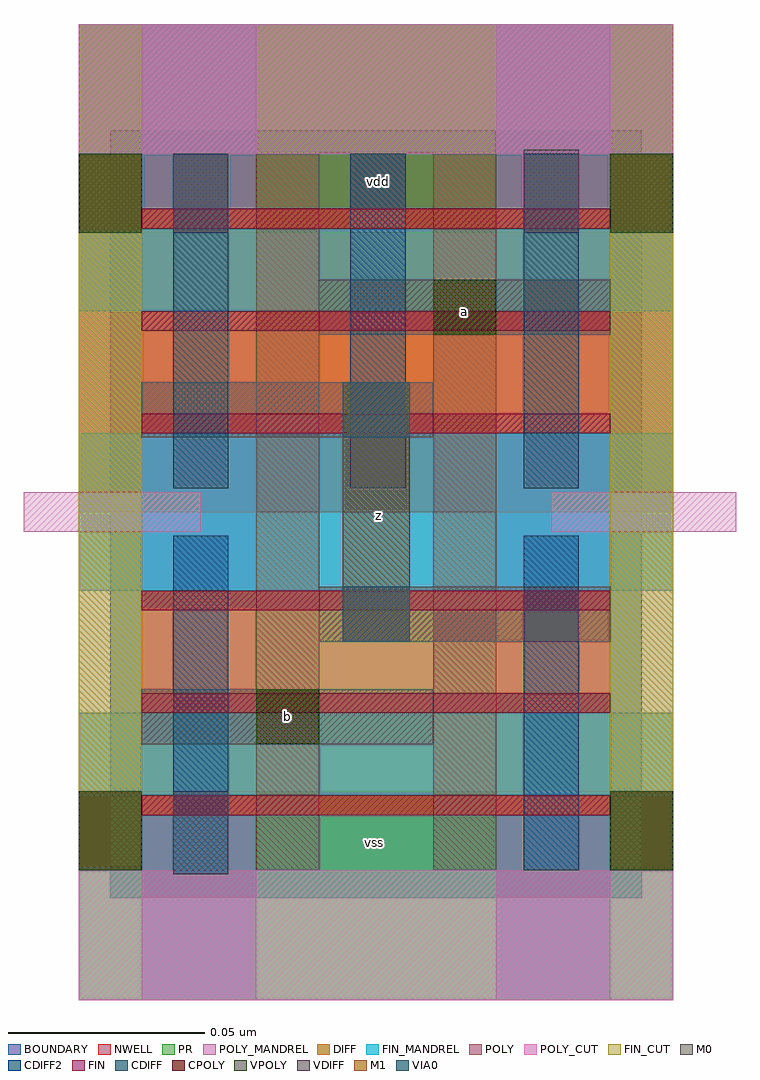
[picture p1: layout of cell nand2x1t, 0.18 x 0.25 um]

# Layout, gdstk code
import gdstk
lib = gdstk.Library(unit=1e-6, precision=1e-11)
def R(c, l, rs):  # rectangles x0, y0, x1, y1
    for r in rs: c.add(gdstk.rectangle(r[:2], r[2:], *l))
def A(c, l, x, y, w, h, nx, ny, dx, dy):  # array of equal rectangles
    R(c, l, [(x+i*dx, y+j*dy, x+i*dx+w, y+j*dy+h) for i in range(nx) for j in range(ny)])
BOUNDARY = (1, 0)
NWELL = (5, 1)
DIFF = (7, 7)
FIN = (7, 8)
FIN_MANDREL = (7, 10)
FIN_CUT = (7, 50)
POLY = (9, 7)
POLY_MANDREL = (9, 10)
POLY_CUT = (9, 50)
CPOLY = (9, 100)
VPOLY = (9, 135)
VDIFF = (10, 0)
CDIFF = (10, 1)
CDIFF2 = (10, 2)
VIA0 = (20, 0)
M0 = (30, 0)
PR = (30, 1)
M1 = (50, 0)

nand2x1t = lib.new_cell('nand2x1t')
R(nand2x1t, BOUNDARY, [(-0.008,-0.013,0.127,0.182)])
R(nand2x1t, NWELL, [(-0.016,0.085,0.135,0.209)])
R(nand2x1t, DIFF, [(0,0.008,0.119,0.065), (0,0.105,0.119,0.162)])
A(nand2x1t, FIN, 0, 0.008, 0.119, 0.005, 1, 3, 0, 0.026)
A(nand2x1t, FIN, 0, 0.105, 0.119, 0.005, 1, 3, 0, 0.026)
R(nand2x1t, FIN_MANDREL, [(-0.016,0.013,0.135,0.034), (-0.016,0.065,0.135,0.105), (-0.016,0.136,0.135,0.157)])
R(nand2x1t, FIN_CUT, [(0.119,-0.006,0.135,0.176), (-0.016,-0.005,0,0.176)])
R(nand2x1t, POLY, [(-0.016,-0.006,0,0.08), (0.029,-0.006,0.045,0.176), (0.074,-0.006,0.09,0.176), (0.119,-0.006,0.135,0.08), (-0.016,0.09,0,0.176), (0.119,0.09,0.135,0.176)])
R(nand2x1t, POLY_MANDREL, [(0,-0.039,0.029,0.209), (0.09,-0.039,0.119,0.209)])
R(nand2x1t, POLY_CUT, [(-0.016,-0.039,0.135,-0.006), (-0.03,0.08,0.015,0.09), (0.104,0.08,0.151,0.09), (-0.016,0.176,0.135,0.209)])
R(nand2x1t, CPOLY, [(-0.016,-0.006,0,0.014), (0.119,-0.006,0.135,0.014), (0.029,0.026,0.045,0.04), (0.074,0.13,0.09,0.144), (-0.016,0.156,0,0.176), (0.119,0.156,0.135,0.176)])
R(nand2x1t, VPOLY, [(-0.016,-0.006,0,0.014), (0.119,-0.006,0.135,0.014), (0.029,0.026,0.045,0.04), (0.074,0.13,0.09,0.144), (-0.016,0.156,0,0.176), (0.119,0.156,0.135,0.176)])
R(nand2x1t, VDIFF, [(0.008,-0.007,0.022,0.014), (0.097,0.052,0.111,0.066), (0.053,0.104,0.067,0.118), (0.008,0.156,0.022,0.176), (0.097,0.156,0.111,0.177)])
R(nand2x1t, CDIFF, [(0.008,0.091,0.022,0.176), (0.097,0.091,0.111,0.176)])
R(nand2x1t, CDIFF2, [(0.008,-0.007,0.022,0.079), (0.097,-0.006,0.111,0.079), (0.053,0.091,0.067,0.176)])
R(nand2x1t, VIA0, [(0.051,0.052,0.068,0.066), (0.051,0.104,0.068,0.118)])
R(nand2x1t, M0, [(0,0.026,0.074,0.04), (0.045,0.052,0.119,0.066), (0,0.104,0.074,0.118), (0.045,0.13,0.119,0.144)])
R(nand2x1t, PR, [(-0.016,-0.039,0.135,0.014), (-0.016,0.156,0.135,0.209)])
R(nand2x1t, M1, [(0.051,0.052,0.068,0.118)])
nand2x1t.add(gdstk.Label('vdd', (0.06,0.169), layer=30, texttype=2))
nand2x1t.add(gdstk.Label('vss', (0.059,0.001), layer=30, texttype=2))
nand2x1t.add(gdstk.Label('vdd', (0.06,0.169), layer=30, texttype=12))
nand2x1t.add(gdstk.Label('a', (0.082,0.136), layer=30, texttype=12))
nand2x1t.add(gdstk.Label('b', (0.037,0.033), layer=30, texttype=12))
nand2x1t.add(gdstk.Label('vss', (0.059,0.001), layer=30, texttype=12))
nand2x1t.add(gdstk.Label('z', (0.06,0.084), layer=50, texttype=12))

lib.write_gds('nand2x1t.gds')
